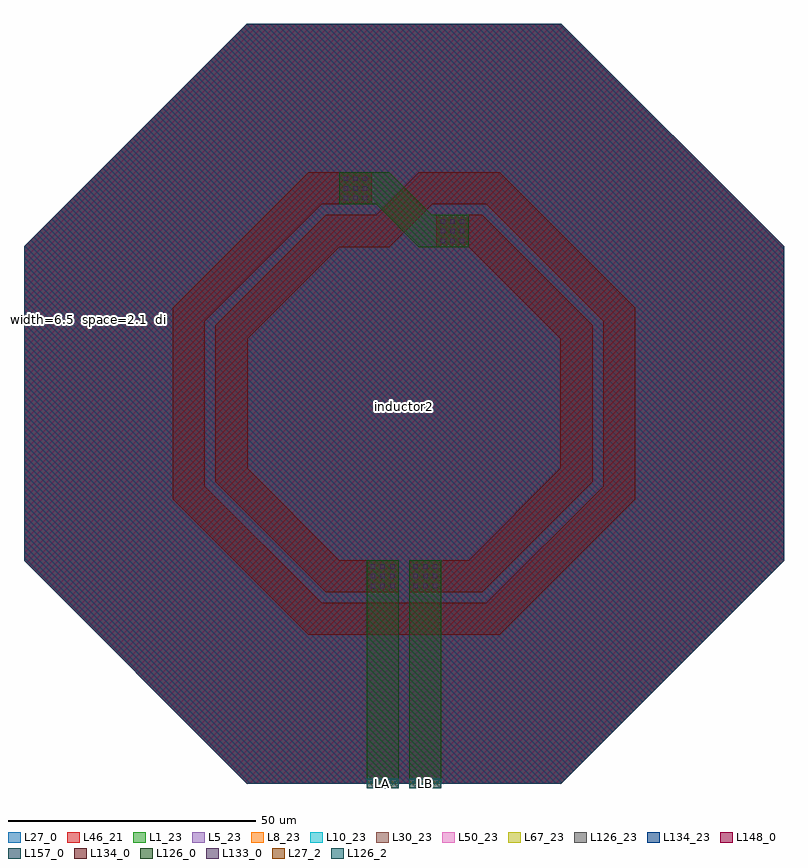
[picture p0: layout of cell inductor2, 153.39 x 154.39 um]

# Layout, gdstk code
import gdstk
lib = gdstk.Library(unit=1e-6, precision=1e-09)
def R(c, l, rs):  # rectangles x0, y0, x1, y1
    for r in rs: c.add(gdstk.rectangle(r[:2], r[2:], *l))
def A(c, l, x, y, w, h, nx, ny, dx, dy):  # array of equal rectangles
    R(c, l, [(x+i*dx, y+j*dy, x+i*dx+w, y+j*dy+h) for i in range(nx) for j in range(ny)])
def P(c, l, *ps):  # polygons
    for p in ps: c.add(gdstk.Polygon(p, *l))
L1_23 = (1, 23)
L5_23 = (5, 23)
L8_23 = (8, 23)
L10_23 = (10, 23)
L27_0 = (27, 0)
L27_2 = (27, 2)
L30_23 = (30, 23)
L46_21 = (46, 21)
L50_23 = (50, 23)
L67_23 = (67, 23)
L126_0 = (126, 0)
L126_2 = (126, 2)
L126_23 = (126, 23)
L133_0 = (133, 0)
L134_0 = (134, 0)
L134_23 = (134, 23)
L148_0 = (148, 0)
L157_0 = (157, 0)

inductor2 = lib.new_cell('inductor2')
P(inductor2, L1_23, [(-31.765,0),(-76.695,44.93),(-76.695,108.46),(-31.765,153.39),(31.765,153.39),(76.695,108.46),(76.695,44.93),(31.765,0)])
P(inductor2, L5_23, [(-31.765,0),(-76.695,44.93),(-76.695,108.46),(-31.765,153.39),(31.765,153.39),(76.695,108.46),(76.695,44.93),(31.765,0)])
P(inductor2, L8_23, [(-31.765,0),(-76.695,44.93),(-76.695,108.46),(-31.765,153.39),(31.765,153.39),(76.695,108.46),(76.695,44.93),(31.765,0)])
P(inductor2, L10_23, [(-31.765,0),(-76.695,44.93),(-76.695,108.46),(-31.765,153.39),(31.765,153.39),(76.695,108.46),(76.695,44.93),(31.765,0)])
P(inductor2, L27_0, [(-31.765,0),(-76.695,44.93),(-76.695,108.46),(-31.765,153.39),(31.765,153.39),(76.695,108.46),(76.695,44.93),(31.765,0)])
R(inductor2, L27_2, [(-7.55,-1,-1.05,1), (1.05,-1,7.55,1)])
P(inductor2, L30_23, [(-31.765,0),(-76.695,44.93),(-76.695,108.46),(-31.765,153.39),(31.765,153.39),(76.695,108.46),(76.695,44.93),(31.765,0)])
P(inductor2, L46_21, [(-31.765,0),(-76.695,44.93),(-76.695,108.46),(-31.765,153.39),(31.765,153.39),(76.695,108.46),(76.695,44.93),(31.765,0)])
P(inductor2, L50_23, [(-31.765,0),(-76.695,44.93),(-76.695,108.46),(-31.765,153.39),(31.765,153.39),(76.695,108.46),(76.695,44.93),(31.765,0)])
P(inductor2, L67_23, [(-31.765,0),(-76.695,44.93),(-76.695,108.46),(-31.765,153.39),(31.765,153.39),(76.695,108.46),(76.695,44.93),(31.765,0)])
P(inductor2, L126_0, [(2.975,108.25),(-5.645,116.87),(-13.035,116.87),(-13.035,123.37),(-2.975,123.37),(5.645,114.75),(13.035,114.75),(13.035,108.25)])
R(inductor2, L126_2, [(-7.55,-1,-1.05,1), (1.05,-1,7.55,1)])
P(inductor2, L126_23, [(-31.765,0),(-76.695,44.93),(-76.695,108.46),(-31.765,153.39),(31.765,153.39),(76.695,108.46),(76.695,44.93),(31.765,0)])
A(inductor2, L133_0, -6.71, 39.44, 0.9, 0.9, 3, 3, 1.96, 1.96)
A(inductor2, L133_0, 1.89, 39.44, 0.9, 0.9, 3, 3, 1.96, 1.96)
A(inductor2, L133_0, 7.375, 109.09, 0.9, 0.9, 3, 3, 1.96, 1.96)
A(inductor2, L133_0, -12.195, 117.69, 0.9, 0.9, 3, 3, 1.96, 1.96)
R(inductor2, L134_0, [(-6.535,30,6.535,36.5)])
P(inductor2, L134_0, [(1.05,38.6),(1.05,45.1),(13.075,45.1),(31.575,63.6),(31.575,89.75),(13.075,108.25),(6.535,108.25),(6.535,114.75),(15.775,114.75),(38.075,92.45),(38.075,60.9),(15.775,38.6)],
  [(-15.775,38.6),(-38.075,60.9),(-38.075,92.45),(-15.775,114.75),(-6.535,114.75),(-6.535,108.25),(-13.075,108.25),(-31.575,89.75),(-31.575,63.6),(-13.075,45.1),(-1.05,45.1),(-1.05,38.6)],
  [(-6.535,108.25),(-6.535,114.75),(-5.645,114.75),(2.975,123.37),(6.535,123.37),(6.535,116.87),(5.675,116.87),(-2.945,108.25)],
  [(6.535,30),(6.535,36.5),(16.645,36.5),(40.185,60.04),(40.185,93.33),(16.645,116.87),(6.535,116.87),(6.535,123.37),(19.345,123.37),(46.685,96.03),(46.685,57.34),(19.345,30)],
  [(-19.345,30),(-46.685,57.34),(-46.685,96.03),(-19.345,123.37),(-6.535,123.37),(-6.535,116.87),(-16.645,116.87),(-40.185,93.33),(-40.185,60.04),(-16.645,36.5),(-6.535,36.5),(-6.535,30)])
P(inductor2, L134_23, [(-31.765,0),(-76.695,44.93),(-76.695,108.46),(-31.765,153.39),(31.765,153.39),(76.695,108.46),(76.695,44.93),(31.765,0)])
P(inductor2, L148_0, [(-31.765,0),(-76.695,44.93),(-76.695,108.46),(-31.765,153.39),(31.765,153.39),(76.695,108.46),(76.695,44.93),(31.765,0)])
P(inductor2, L157_0, [(-31.765,0),(-76.695,44.93),(-76.695,108.46),(-31.765,153.39),(31.765,153.39),(76.695,108.46),(76.695,44.93),(31.765,0)])
inductor2.add(gdstk.FlexPath([(4.3,-1),(4.3,45.1)], 6.5, ends="flush", simple_path=True, layer=126, datatype=0))  # L126_0
inductor2.add(gdstk.FlexPath([(-4.3,-1),(-4.3,45.1)], 6.5, ends="flush", simple_path=True, layer=126, datatype=0))  # L126_0
inductor2.add(gdstk.Label('inductor2', (0,76.113), layer=63, texttype=0))
inductor2.add(gdstk.Label('  width=6.5\n  space=2.1\n  diameter=63.15\n  turns=2', (-76.695,93.635), layer=63, texttype=0))
inductor2.add(gdstk.Label('LB', (4.3,0), layer=27, texttype=25))
inductor2.add(gdstk.Label('LA', (-4.3,0), layer=27, texttype=25))

lib.write_gds('inductor2.gds')
